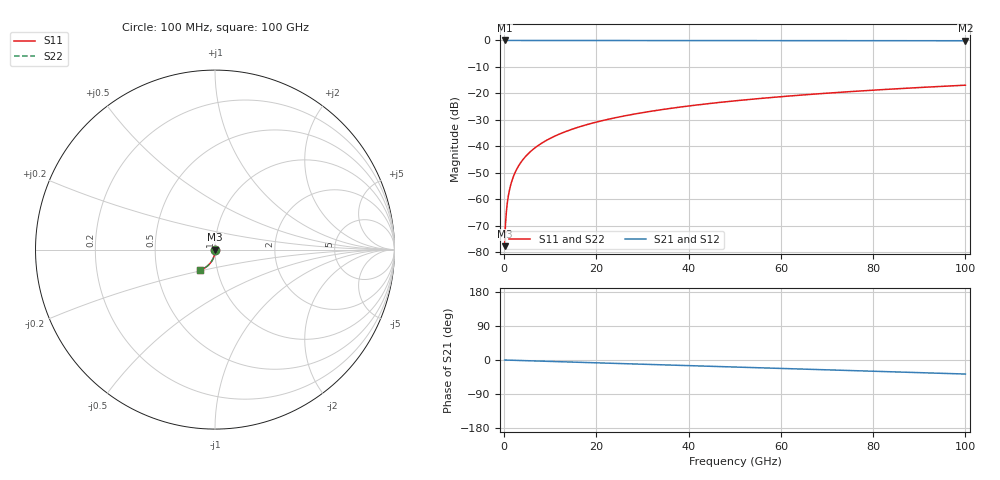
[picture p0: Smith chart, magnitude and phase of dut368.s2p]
! Touchstone file exported from HFSS 2026.1.0
!  File:  C:/ffzhzh/LocalFiles/Ansys_Project_Files/temp_train_TSV_368_1783510301_9504.aedt
!  Generated:  07:32:50 PM Jul  8, 2026
!  Design:  TSV
!  Project:  temp_train_TSV_368_1783510301_9504
! Variables:
!  h_bsmrdl = 2um
!  h_ox = 20um
!  h_rdl = 5um
!  h_sub = 72.91um
!  h_tmrdl = 5um
!  h_tsv = 72.91um
!  h_via = 3um
!  l_bsmrdl = 300um
!  l_sub = 427.3um
!  l_tmrdl = 200um
!  m_sub = 200um
!  pitch = 44.38um
!  r_tsv = 13.65um
!  s_tmrdl = 10um
!  w_bsmrdl = 18um
!  w_sub = 500um
!  w_tmrdl = 12um
!  x_tsv_center1 = 206um
!  x_tsv_center2 = 524um
!  x_tsv_center3 = 736um
!  x_tsv_center4 = 1054um
!  x_tsv_center5 = 1266um
!  x_tsv_center6 = 1584um
# GHz S MA R 50.000000
! Terminal data exported
! Port[1] = TSV1_1_T1
! Port[2] = TSV1_1_T2
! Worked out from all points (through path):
!   1000 points, 100 MHz to 100 GHz, reference 50 ohm
!   highest |S21| = 0.00 dB at 100 MHz (marker M1); lowest = -0.1 dB at 100 GHz (marker M2)
!   group delay of S21, straight-line fit = 1.03 ps
!   lowest |S11| = -77.7 dB at 100 MHz (marker M3), VSWR 1.00, Z = 50 - j0.0104 ohm
!   |S11| at or under -10 dB: start of sweep to end of sweep
!   |S22| runs from -77.7 to -16.9 dB; largest |S21 - S12| = 4.3e-15
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0.1  0.0001299 -52.9  0.9999 -0.0  0.9999 -0.0  0.0001299 -52.9
! Gamma 0 0 0 0
! Port Impedance 50 0 50 0
0.4  0.0004709 -73.6  0.9999 -0.2  0.9999 -0.2  0.0004709 -73.6
0.7  0.0008697 -77.7  0.9998 -0.3  0.9998 -0.3  0.0008697 -77.7
0.8  0.001007 -78.7  0.9998 -0.3  0.9998 -0.3  0.001007 -78.7
1  0.001282 -80.2  0.9998 -0.4  0.9998 -0.4  0.001282 -80.2
1.3  0.001697 -81.8  0.9997 -0.5  0.9997 -0.5  0.001697 -81.8
1.7  0.002253 -83.2  0.9997 -0.6  0.9997 -0.6  0.002253 -83.2
2.3  0.003093 -84.6  0.9997 -0.9  0.9997 -0.9  0.003093 -84.6
3  0.004082 -85.7  0.9996 -1.1  0.9996 -1.1  0.004082 -85.7
3.8  0.005221 -86.6  0.9995 -1.4  0.9995 -1.4  0.005221 -86.6
4.8  0.006654 -87.6  0.9995 -1.8  0.9995 -1.8  0.006654 -87.6
5.9  0.008236 -88.4  0.9994 -2.2  0.9994 -2.2  0.008236 -88.4
8.7  0.01228 -90.2  0.9993 -3.2  0.9993 -3.2  0.01228 -90.2
12.3  0.0175 -92.0  0.999 -4.6  0.999 -4.6  0.0175 -92.0
16.8  0.02405 -94.0  0.9988 -6.2  0.9988 -6.2  0.02405 -94.0
24.2  0.03482 -97.1  0.9983 -9.0  0.9983 -9.0  0.03482 -97.1
33.4  0.04821 -100.8  0.9975 -12.4  0.9975 -12.4  0.04821 -100.8
41.2  0.05953 -103.9  0.9967 -15.3  0.9967 -15.3  0.05953 -103.9
50.1  0.0724 -107.3  0.9957 -18.6  0.9957 -18.6  0.0724 -107.3
66.7  0.09619 -113.6  0.9934 -24.7  0.9934 -24.7  0.09619 -113.7
83.4  0.1198 -120.0  0.9905 -30.9  0.9905 -30.9  0.1198 -120.0
100  0.1429 -126.3  0.987 -37.1  0.987 -37.1  0.1429 -126.3
